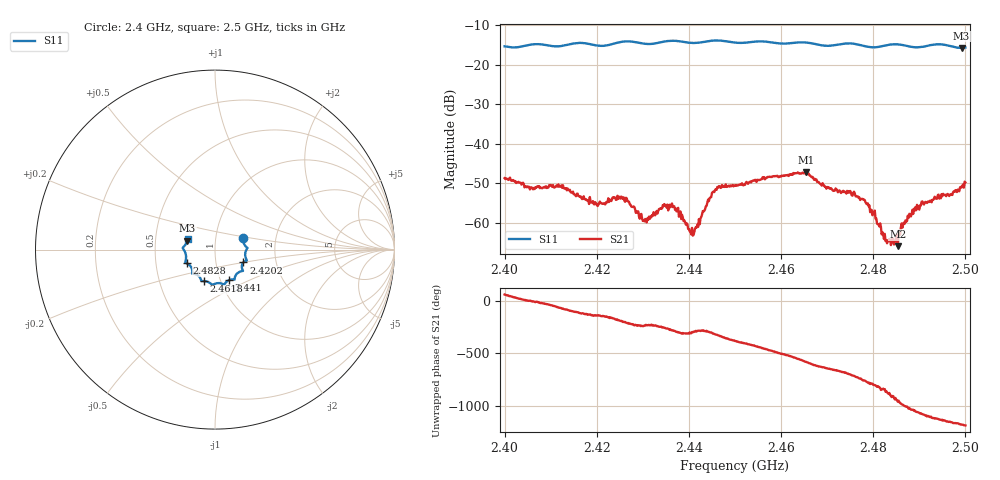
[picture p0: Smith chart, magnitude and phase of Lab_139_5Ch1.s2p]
# Hz S RI R 50
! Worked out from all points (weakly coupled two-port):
!   601 points, 2.4 GHz to 2.5 GHz, reference 50 ohm
!   highest |S21| = -47.13 dB at 2.4653 GHz (marker M1); lowest = -65.8 dB at 2.4853 GHz (marker M2)
!   lowest |S11| = -15.8 dB at 2.4992 GHz (marker M3), VSWR 1.39, Z = 36.5 + j3.7 ohm
!   |S11| at or under -10 dB: start of sweep to end of sweep
!   S12 and S22 are empty: the file has one direction only
!   S11 on the Smith chart (normalised r, x): 2.4 GHz: 1.36, +0.17; 2.4202 GHz: 1.36, -0.20; 2.441 GHz: 1.10, -0.39; 2.4618 GHz: 0.84, -0.30; 2.4828 GHz: 0.72, -0.11; 2.5 GHz: 0.73, +0.09
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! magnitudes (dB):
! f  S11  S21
! 2.4 GHz  -15.4  -48.7
! 2.406 GHz  -14.9  -51.1
! 2.4122 GHz  -15.4  -50.8
! 2.4167 GHz  -14.6  -53.7
! 2.4202 GHz  -15.2  -55.7
! 2.4253 GHz  -14.3  -53.3
! 2.4303 GHz  -14.8  -59.6
! 2.4333 GHz  -14.5  -56.9
! 2.4363 GHz  -14.0  -55.1
! 2.441 GHz  -14.6  -63.0
! 2.4457 GHz  -13.9  -51.7
! 2.45 GHz  -14.5  -50.5
! 2.4618 GHz  -14.6  -47.7
! 2.4653 GHz  -14.4  -47.1
! 2.4667 GHz  -14.6  -48.4
! 2.4778 GHz  -15.3  -54.1
! 2.4828 GHz  -15.1  -64.3
! 2.4833 GHz  -15.0  -64.5
! 2.4853 GHz  -14.9  -65.8
! 2.4893 GHz  -15.7  -56.8
! 2.4992 GHz  -15.8  -51.0
! 2.5 GHz  -15.7  -49.8
